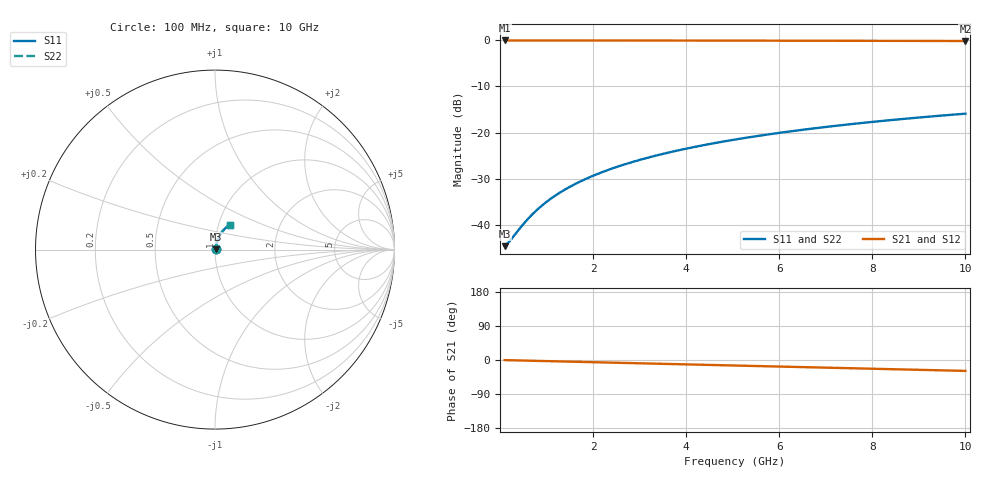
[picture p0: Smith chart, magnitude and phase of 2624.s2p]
# Hz S RI R 50.00
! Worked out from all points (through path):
!   100 points, 100 MHz to 10 GHz, reference 50 ohm
!   highest |S21| = -0.05 dB at 100 MHz (marker M1); lowest = -0.2 dB at 10 GHz (marker M2)
!   group delay of S21, straight-line fit = 7.99 ps
!   lowest |S11| = -44.6 dB at 100 MHz (marker M3), VSWR 1.01, Z = 50.6 + j0.168 ohm
!   |S11| at or under -10 dB: start of sweep to end of sweep
!   |S22| runs from -44.6 to -15.9 dB; largest |S21 - S12| = 0
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1e8  0.00568 0.00166  0.9943 -0.00502  0.9943 -0.00502  0.00568 0.00166
2e8  0.00574 0.00331  0.9942 -0.01  0.9942 -0.01  0.00574 0.00331
5e8  0.00598 0.00828  0.9939 -0.0251  0.9939 -0.0251  0.00598 0.00828
6e8  0.00609 0.00993  0.9937 -0.0301  0.9937 -0.0301  0.00609 0.00993
7e8  0.00621 0.0116  0.9935 -0.0351  0.9935 -0.0351  0.00621 0.0116
9e8  0.00651 0.0149  0.993 -0.0451  0.993 -0.0451  0.00651 0.0149
1.1e9  0.00686 0.0182  0.9924 -0.0551  0.9924 -0.0551  0.00686 0.0182
1.3e9  0.00728 0.0215  0.9917 -0.0652  0.9917 -0.0652  0.00728 0.0215
1.5e9  0.00777 0.0247  0.9909 -0.0752  0.9909 -0.0752  0.00777 0.0247
1.8e9  0.00861 0.0296  0.9895 -0.0901  0.9895 -0.0901  0.00861 0.0296
2.1e9  0.00961 0.0345  0.9878 -0.1051  0.9878 -0.1051  0.00961 0.0345
2.5e9  0.0112 0.0409  0.9852 -0.1249  0.9852 -0.1249  0.0112 0.0409
2.9e9  0.013 0.0473  0.9822 -0.1447  0.9822 -0.1447  0.013 0.0473
3.4e9  0.0156 0.0551  0.9777 -0.1694  0.9777 -0.1694  0.0156 0.0551
3.8e9  0.018 0.0613  0.9737 -0.1889  0.9737 -0.1889  0.018 0.0613
4.2e9  0.0206 0.0673  0.9693 -0.2084  0.9693 -0.2084  0.0206 0.0673
5.1e9  0.0273 0.0805  0.9577 -0.2518  0.9577 -0.2518  0.0273 0.0805
5.9e9  0.0343 0.0917  0.9457 -0.2897  0.9457 -0.2897  0.0343 0.0917
6.7e9  0.0421 0.1022  0.932 -0.3269  0.932 -0.3269  0.0421 0.1022
7.5e9  0.0508 0.112  0.9168 -0.3634  0.9168 -0.3634  0.0508 0.112
8.4e9  0.0614 0.1222  0.8979 -0.4035  0.8979 -0.4035  0.0614 0.1222
1e10  0.0823 0.1378  0.8598 -0.4719  0.8598 -0.4719  0.0823 0.1378
